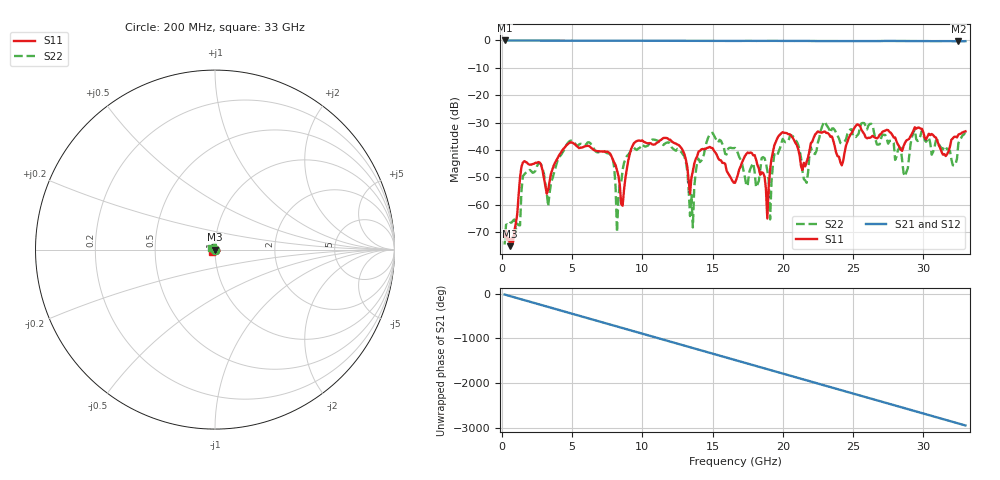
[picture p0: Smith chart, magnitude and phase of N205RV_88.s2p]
# GHZ S RI R 50
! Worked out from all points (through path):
!   329 points, 200 MHz to 33 GHz, reference 50 ohm
!   highest |S21| = -0.02 dB at 200 MHz (marker M1); lowest = -0.3 dB at 32.5 GHz (marker M2)
!   group delay of S21, straight-line fit = 248 ps
!   lowest |S11| = -75.1 dB at 600 MHz (marker M3), VSWR 1.00, Z = 50 + j0.00182 ohm
!   |S11| at or under -10 dB: start of sweep to end of sweep
!   |S22| runs from -74.5 to -29.6 dB; largest |S21 - S12| = 0.0019
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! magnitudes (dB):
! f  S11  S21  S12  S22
! 200 MHz  -71.7  0.0  0.0  -74.5
! 600 MHz  -75.1  0.0  0.0  -66.6
! 1.5 GHz  -44.6  0.0  0.0  -49.6
! 3.3 GHz  -54.5  -0.1  -0.1  -60.6
! 5.7 GHz  -39.2  -0.1  -0.1  -37.9
! 7.9 GHz  -43.5  -0.1  -0.1  -43.2
! 8.2 GHz  -47.4  -0.1  -0.1  -70.0
! 8.9 GHz  -47.1  -0.1  -0.1  -42.3
! 11.2 GHz  -36.8  -0.1  -0.1  -36.9
! 13 GHz  -41.5  -0.2  -0.2  -42.4
! 13.6 GHz  -47.7  -0.2  -0.2  -68.3
! 13.9 GHz  -42.4  -0.2  -0.2  -44.8
! 14.8 GHz  -38.9  -0.2  -0.2  -34.3
! 16.6 GHz  -52.0  -0.2  -0.2  -39.3
! 18.7 GHz  -49.6  -0.2  -0.2  -43.0
! 18.9 GHz  -65.0  -0.2  -0.2  -47.5
! 19.1 GHz  -47.0  -0.2  -0.2  -65.4
! 20 GHz  -33.5  -0.2  -0.2  -35.9
! 22.1 GHz  -37.0  -0.2  -0.2  -40.8
! 27.6 GHz  -33.4  -0.2  -0.2  -36.7
! 32.5 GHz  -34.4  -0.3  -0.3  -37.5
! 33 GHz  -33.2  -0.3  -0.3  -33.4
